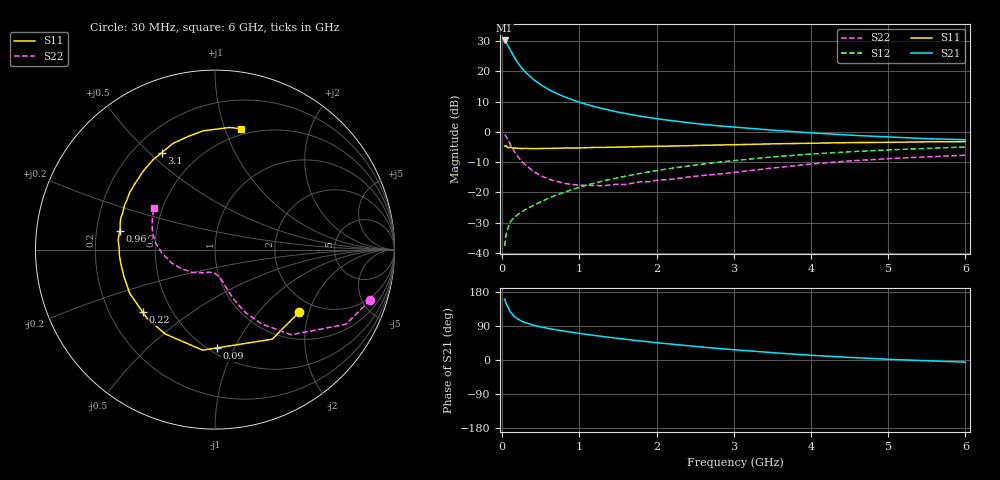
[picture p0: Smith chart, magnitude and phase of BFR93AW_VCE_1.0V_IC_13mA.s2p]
! Infineon Technologies  Discrete & RF Semiconductors
! BFR93AW
! VCE =  1.0 V,  IC =  13 mA
! Common Emitter S-Parameters:  Nov 2015
# GHz  S  MA  R  50
!  f  S11  S21  S12  S22
! GHz  MAG  ANG  MAG  ANG  MAG  ANG  MAG  ANG
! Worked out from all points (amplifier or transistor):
!   206 points, 30 MHz to 6 GHz, reference 50 ohm
!   highest |S21| = 30.2 dB at 30 MHz (marker M1)
!   |S21| within 3 dB of that: start of sweep to 100.3 MHz
!   unconditionally stable (mu >= 1): 613.4 MHz to 2.67 GHz
!   at 200 MHz: K = 0.59, MSG = 25.1 dB, |S12| = -27.3 dB
!   at 1.56 GHz: K = 1.07, MAG = 8.9 dB, |S12| = -14.8 dB
!   at 6 GHz: K = 0.97, MSG = 1.2 dB, |S12| = -5.0 dB
!   S11 on the Smith chart (normalised r, x): 30 MHz: 1.64, -1.73; 90 MHz: 0.55, -0.85; 220 MHz: 0.34, -0.33; 960 MHz: 0.30, +0.09; 3.1 GHz: 0.31, +0.55; 6 GHz: 0.44, +1.14
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0.03  0.5843 -36.4  32.4 160.8  0.0129 72.4  0.9093 -18.1
0.05  0.5923 -57.4  30.22 148.2  0.0203 66.5  0.8392 -29.7
0.09  0.5479 -89.1  24.14 132.7  0.0295 57.3  0.6706 -43.6
0.1  0.5643 -97.0  22.98 127.7  0.0319 55.8  0.6367 -48.2
0.15  0.546 -120.7  17.42 115.6  0.0379 51.0  0.487 -58.0
0.2  0.5381 -134.9  13.88 107.9  0.043 50.8  0.3929 -63.9
0.22  0.5324 -139.1  12.88 106.0  0.0448 51.2  0.3659 -65.2
0.26  0.5295 -147.0  11.06 101.7  0.0483 52.0  0.3173 -68.0
0.3  0.534 -152.8  9.679 98.2  0.0518 52.9  0.2834 -70.1
0.4  0.5293 -163.6  7.382 91.9  0.0607 56.2  0.2229 -73.2
0.5  0.5304 -170.9  5.976 87.0  0.0698 58.3  0.187 -76.3
0.6  0.5337 -176.5  5.014 83.1  0.0802 60.2  0.1657 -78.4
0.7  0.5342 178.7  4.337 79.4  0.0903 61.5  0.1522 -81.5
0.8  0.5423 174.4  3.807 76.1  0.1003 62.3  0.1409 -86.0
0.96  0.5407 168.8  3.21 71.4  0.117 63.2  0.1328 -89.8
1.04  0.5441 166.2  2.976 69.0  0.1256 63.2  0.1309 -93.4
1.5  0.5619 153.9  2.118 57.1  0.1748 62.4  0.136 -109.8
2.02  0.5776 141.0  1.636 45.2  0.2308 58.9  0.1594 -125.6
3.1  0.6161 118.8  1.169 25.6  0.3446 48.9  0.2201 -152.7
4.1  0.6506 101.7  0.947 11.4  0.4371 37.6  0.3008 -178.0
5.1  0.6731 88.2  0.812 1.2  0.509 26.5  0.3657 162.6
6  0.6889 77.9  0.74 -5.6  0.5627 17.3  0.4107 146.1
